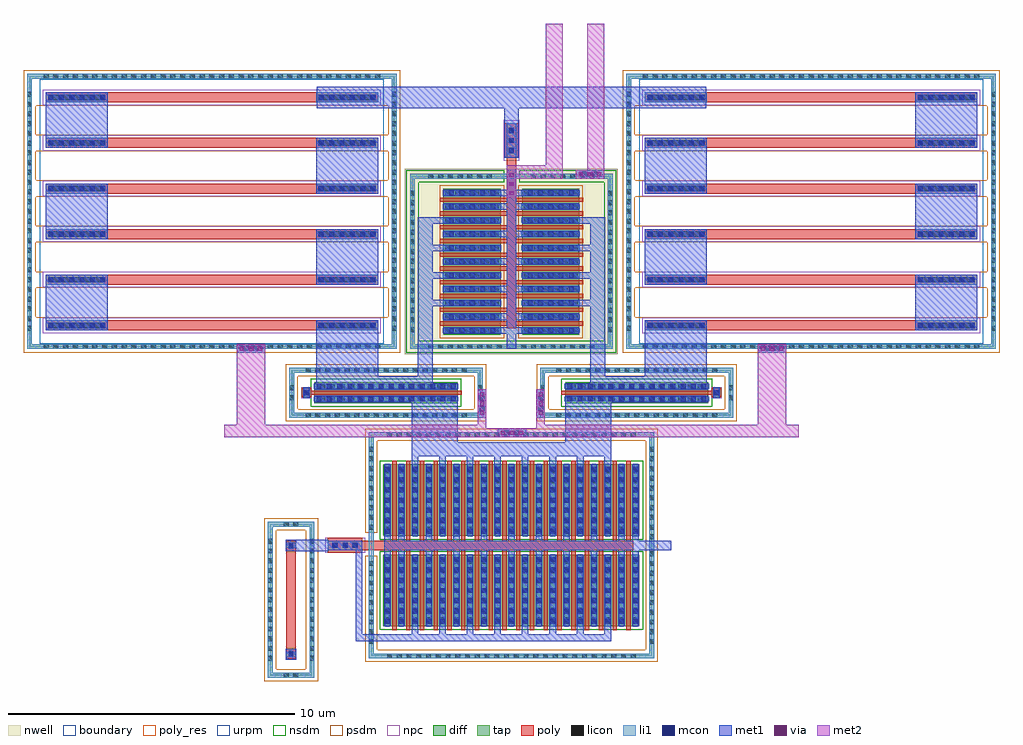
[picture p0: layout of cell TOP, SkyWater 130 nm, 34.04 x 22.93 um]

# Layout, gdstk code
import gdstk
lib = gdstk.Library(unit=1e-6, precision=1e-09)
def R(c, l, rs):  # rectangles x0, y0, x1, y1
    for r in rs: c.add(gdstk.rectangle(r[:2], r[2:], *l))
def A(c, l, x, y, w, h, nx, ny, dx, dy):  # array of equal rectangles
    R(c, l, [(x+i*dx, y+j*dy, x+i*dx+w, y+j*dy+h) for i in range(nx) for j in range(ny)])
nwell = (64, 20)
diff = (65, 20)
tap = (65, 44)
poly_res = (66, 13)
poly = (66, 20)
licon = (66, 44)
li1 = (67, 20)
mcon = (67, 44)
met1 = (68, 20)
via = (68, 44)
met2 = (69, 20)
urpm = (79, 20)
nsdm = (93, 44)
psdm = (94, 20)
npc = (95, 20)
boundary = (235, 4)

top = lib.new_cell('TOP')
R(top, nwell, [(-9.715,6.72,-5.525,13.19), (-6.475,6.72,-2.285,13.19)])
R(top, diff, [(-10.465,-2.77,-1.535,-0.27), (-10.465,0.38,-1.535,2.88), (-12.87,5.01,-7.87,5.74), (-4.13,5.01,0.87,5.74), (-8.37,7.4,-6.37,12.49), (-5.63,7.4,-3.63,12.49)])
R(top, tap, [(-14.5,-4.56,-12.87,-4.39), (-14.5,-4.39,-14.33,0.7), (-13.04,-4.39,-12.87,0.7), (-10.975,-3.89,-1.025,-3.72), (-10.975,-3.72,-10.805,-0.315), (-1.195,-3.72,-1.025,0.18), (-1.195,-0.07,-1.025,3.83), (-10.975,0.485,-10.805,3.83), (-14.5,0.7,-12.87,0.87), (-10.975,3.83,-1.025,4), (-13.74,4.5,-13.57,6.25), (-13.57,4.5,-7.17,4.67), (-7.17,4.5,-7,6.25), (-5,4.5,-4.83,6.25), (-4.83,4.5,1.57,4.67), (1.57,4.5,1.74,6.25), (-13.57,6.08,-7.17,6.25), (-4.83,6.08,1.57,6.25), (-22.89,6.9,-22.72,16.5), (-22.72,6.9,-10.17,7.07), (-10.17,6.9,-10,16.5), (-9.535,6.9,-9.365,13.01), (-9.365,6.9,-5.875,7.07), (-6.125,6.9,-2.635,7.07), (-2.635,6.9,-2.465,13.01), (-1.995,6.9,-1.825,16.5), (-1.825,6.9,10.725,7.07), (10.725,6.9,10.895,16.5), (-9.365,12.84,-6.255,13.01), (-5.735,12.84,-2.635,13.01), (-22.72,16.33,-10.17,16.5), (-1.825,16.33,10.725,16.5)])
A(top, poly_res, -20.14, 7.55, 7.39, 0.35, 1, 6, 0, 1.59)
A(top, poly_res, 0.755, 7.55, 7.39, 0.35, 1, 6, 0, 1.59)
R(top, poly_res, [(-13.85,-3.545,-13.52,-0.145)])
A(top, poly, -10.155, -2.9, 0.15, 2.74, 18, 2, 0.48, 3.17)
A(top, poly, -10.155, -0.16, 0.15, 0.05, 18, 2, 0.48, 0.38)
A(top, poly, -22.24, 7.55, 11.59, 0.35, 1, 6, 0, 1.59)
A(top, poly, -1.345, 7.55, 11.59, 0.35, 1, 6, 0, 1.59)
A(top, poly, -8.5, 7.71, 2.285, 0.15, 1, 10, 0, 0.48)
A(top, poly, -6.215, 7.71, 0.05, 0.15, 1, 10, 0, 0.48)
A(top, poly, -5.835, 7.71, 0.05, 0.15, 1, 10, 0, 0.48)
A(top, poly, -5.785, 7.71, 2.285, 0.15, 1, 10, 0, 0.48)
R(top, poly, [(-13.85,-3.91,-13.52,0.22), (-11.685,-0.11,-10.245,0.22), (-10.245,-0.11,-1.755,0.22), (-13.31,5.21,-12.98,5.54), (0.98,5.21,1.31,5.54), (-12.98,5.3,-7.76,5.45), (-7.76,5.3,-7.745,5.45), (-7.745,5.3,-7.74,5.45), (-4.26,5.3,-4.24,5.45), (-4.24,5.3,0.98,5.45), (-6.165,7.62,-5.835,12.27), (-6.165,12.27,-5.835,13.57)])
A(top, licon, -14.5, -3.97, 0.17, 0.17, 1, 13, 0, 0.34)
A(top, licon, -13.04, -3.97, 0.17, 0.17, 1, 13, 0, 0.34)
A(top, licon, -10.335, -3.89, 0.17, 0.17, 26, 2, 0.34, 7.72)
A(top, licon, -10.975, -3.385, 0.17, 0.17, 1, 9, 0, 0.34)
A(top, licon, -1.195, -3.385, 0.17, 0.17, 1, 10, 0, 0.34)
A(top, licon, -10.405, -2.625, 0.17, 0.17, 19, 7, 0.48, 0.34)
A(top, licon, -12.225, -0.03, 0.17, 0.17, 3, 1, 0.34, 0)
A(top, licon, -1.195, 0.265, 0.17, 0.17, 1, 10, 0, 0.34)
A(top, licon, -10.405, 0.525, 0.17, 0.17, 19, 7, 0.48, 0.34)
A(top, licon, -10.975, 0.605, 0.17, 0.17, 1, 9, 0, 0.34)
A(top, licon, -13.175, 4.5, 0.17, 0.17, 17, 2, 0.34, 1.58)
A(top, licon, -4.435, 4.5, 0.17, 0.17, 17, 2, 0.34, 1.58)
A(top, licon, -12.665, 5.07, 0.17, 0.17, 14, 2, 0.34, 0.44)
A(top, licon, -3.925, 5.07, 0.17, 0.17, 14, 2, 0.34, 0.44)
A(top, licon, -22.31, 6.9, 0.17, 0.17, 35, 2, 0.34, 9.43)
A(top, licon, -8.895, 6.9, 0.17, 0.17, 8, 1, 0.34, 0)
A(top, licon, -5.655, 6.9, 0.17, 0.17, 8, 1, 0.34, 0)
A(top, licon, -1.415, 6.9, 0.17, 0.17, 35, 2, 0.34, 9.43)
A(top, licon, -8.305, 7.46, 0.17, 0.17, 6, 11, 0.34, 0.48)
A(top, licon, -5.565, 7.46, 0.17, 0.17, 6, 11, 0.34, 0.48)
A(top, licon, -9.535, 7.49, 0.17, 0.17, 1, 15, 0, 0.34)
A(top, licon, -2.635, 7.49, 0.17, 0.17, 1, 15, 0, 0.34)
A(top, licon, -22.89, 7.535, 0.17, 0.17, 1, 25, 0, 0.34)
A(top, licon, -10.17, 7.535, 0.17, 0.17, 1, 25, 0, 0.34)
A(top, licon, -1.995, 7.535, 0.17, 0.17, 1, 25, 0, 0.34)
A(top, licon, 10.725, 7.535, 0.17, 0.17, 1, 25, 0, 0.34)
A(top, licon, -22.16, 7.63, 2, 0.19, 1, 6, 0, 1.59)
A(top, licon, -12.73, 7.63, 2, 0.19, 1, 6, 0, 1.59)
A(top, licon, -1.265, 7.63, 2, 0.19, 1, 6, 0, 1.59)
A(top, licon, 8.165, 7.63, 2, 0.19, 1, 6, 0, 1.59)
A(top, licon, -8.895, 12.84, 0.17, 0.17, 7, 1, 0.34, 0)
A(top, licon, -5.315, 12.84, 0.17, 0.17, 7, 1, 0.34, 0)
A(top, licon, -6.085, 13.745, 0.17, 0.17, 1, 3, 0, 0.34)
R(top, licon, [(-13.94,-4.56,-13.77,-4.39), (-13.6,-4.56,-13.43,-4.39), (-13.77,-3.83,-13.6,-3.66), (-13.77,-0.03,-13.6,0.14), (-13.94,0.7,-13.77,0.87), (-13.6,0.7,-13.43,0.87), (-13.74,5.12,-13.57,5.29), (-7.17,5.12,-7,5.29), (-5,5.12,-4.83,5.29), (1.57,5.12,1.74,5.29), (-13.23,5.29,-13.06,5.46), (1.06,5.29,1.23,5.46), (-13.74,5.46,-13.57,5.63), (-7.17,5.46,-7,5.63), (-5,5.46,-4.83,5.63), (1.57,5.46,1.74,5.63)])
A(top, li1, -10.405, -2.79, 0.17, 2.54, 19, 2, 0.48, 3.15)
A(top, li1, -8.39, 7.46, 2.04, 0.17, 1, 11, 0, 0.48)
A(top, li1, -5.65, 7.46, 2.04, 0.17, 1, 11, 0, 0.48)
A(top, li1, -22.24, 7.55, 2.16, 0.35, 1, 6, 0, 1.59)
A(top, li1, -12.81, 7.55, 2.16, 0.35, 1, 6, 0, 1.59)
A(top, li1, -1.345, 7.55, 2.16, 0.35, 1, 6, 0, 1.59)
A(top, li1, 8.085, 7.55, 2.16, 0.35, 1, 6, 0, 1.59)
R(top, li1, [(-14.5,-4.56,-12.87,-4.39), (-14.5,-4.39,-14.33,0.7), (-13.04,-4.39,-12.87,0.7), (-10.975,-3.89,-1.025,-3.72), (-13.85,-3.83,-13.52,-3.66), (-10.975,-3.72,-10.805,3.83), (-1.195,-3.72,-1.025,0.18), (-13.77,-3.66,-13.6,-3.63), (-1.195,-0.07,-1.025,3.83), (-13.77,-0.06,-13.6,-0.03), (-13.85,-0.03,-13.52,0.14), (-14.5,0.7,-12.87,0.87), (-10.975,3.83,-1.025,4), (-13.74,4.5,-13.57,6.25), (-13.57,4.5,-7.17,4.67), (-7.17,4.5,-7,6.25), (-5,4.5,-4.83,6.25), (-4.83,4.5,1.57,4.67), (1.57,4.5,1.74,6.25), (-12.89,5.07,-7.85,5.24), (-4.15,5.07,0.89,5.24), (-13.23,5.21,-13.06,5.54), (1.06,5.21,1.23,5.54), (-12.89,5.51,-7.85,5.68), (-4.15,5.51,0.89,5.68), (-13.57,6.08,-7.17,6.25), (-4.83,6.08,1.57,6.25), (-22.89,6.9,-22.72,16.5), (-22.72,6.9,-10.17,7.07), (-10.17,6.9,-10,16.5), (-9.535,6.9,-9.365,13.01), (-9.365,6.9,-5.875,7.07), (-6.125,6.9,-2.635,7.07), (-2.635,6.9,-2.465,13.01), (-1.995,6.9,-1.825,16.5), (-1.825,6.9,10.725,7.07), (10.725,6.9,10.895,16.5), (-9.365,12.84,-2.635,13.01), (-22.72,16.33,-10.17,16.5), (-1.825,16.33,10.725,16.5)])
A(top, mcon, -10.405, -2.685, 0.17, 0.17, 19, 7, 0.48, 0.36)
A(top, mcon, -12.245, -0.03, 0.17, 0.17, 3, 1, 0.36, 0)
A(top, mcon, -10.405, 0.465, 0.17, 0.17, 19, 7, 0.48, 0.36)
A(top, mcon, -12.795, 5.07, 0.17, 0.17, 14, 2, 0.36, 0.44)
A(top, mcon, -4.055, 5.07, 0.17, 0.17, 14, 2, 0.36, 0.44)
A(top, mcon, -8.175, 7.46, 0.17, 0.17, 5, 11, 0.36, 0.48)
A(top, mcon, -5.435, 7.46, 0.17, 0.17, 5, 11, 0.36, 0.48)
A(top, mcon, -22.14, 7.64, 0.17, 0.17, 6, 6, 0.36, 1.59)
A(top, mcon, -12.715, 7.64, 0.17, 0.17, 6, 6, 0.36, 1.59)
A(top, mcon, -1.25, 7.64, 0.17, 0.17, 6, 6, 0.36, 1.59)
A(top, mcon, 8.175, 7.64, 0.17, 0.17, 6, 6, 0.36, 1.59)
A(top, mcon, -6.085, 13.725, 0.17, 0.17, 1, 3, 0, 0.36)
R(top, mcon, [(-13.77,-3.815,-13.6,-3.645), (-13.77,-0.045,-13.6,0.125), (-6.25,3.895,-6.08,4.065), (-5.89,3.895,-5.72,4.065), (-7.105,4.735,-6.935,4.905), (-5.065,4.735,-4.895,4.905), (-7.105,5.095,-6.935,5.265), (-5.065,5.095,-4.895,5.265), (-13.23,5.29,-13.06,5.46), (1.06,5.29,1.23,5.46), (-15.35,6.835,-15.18,7.005), (-14.99,6.835,-14.82,7.005), (2.825,6.835,2.995,7.005), (3.185,6.835,3.355,7.005), (-3.525,12.905,-3.355,13.075), (-3.165,12.905,-2.995,13.075)])
A(top, met1, -10.435, -2.77, 0.23, 2.5, 19, 2, 0.48, 3.15)
A(top, met1, -9.955, -0.27, 0.23, 0.65, 9, 1, 0.96, 0)
A(top, met1, -8.37, 7.43, 2, 0.23, 1, 11, 0, 0.48)
A(top, met1, -5.63, 7.43, 2, 0.23, 1, 11, 0, 0.48)
A(top, met1, -22.24, 7.55, 2.16, 1.94, 1, 3, 0, 3.18)
A(top, met1, 8.085, 7.55, 2.16, 1.94, 1, 3, 0, 3.18)
A(top, met1, -22.21, 7.6, 2.105, 0.25, 1, 6, 0, 1.59)
A(top, met1, -12.785, 7.6, 2.105, 0.25, 1, 6, 0, 1.59)
A(top, met1, -1.315, 7.6, 2.105, 0.25, 1, 6, 0, 1.59)
A(top, met1, 8.11, 7.6, 2.105, 0.25, 1, 6, 0, 1.59)
A(top, met1, -6.37, 7.91, 0.74, 0.23, 1, 5, 0, 0.96)
R(top, met1, [(-13.87,-3.93,-13.8,-3.545), (-13.8,-3.93,-13.57,-3.89), (-13.57,-3.93,-13.5,-3.545), (-13.8,-3.89,-13.57,-3.57), (-13.8,-3.57,-13.57,-3.545), (-10.435,-0.27,-10.205,0.38), (-1.795,-0.27,-1.565,0.38), (-13.87,-0.145,-12.68,0.24), (-12.68,-0.145,-12.4,0.24), (-13.8,-0.12,-13.57,0.2), (-10.435,-0.11,-0.435,0.22), (-9.475,3.165,-7.87,5.27), (-4.13,3.165,-2.525,5.27), (-7.87,3.395,-4.13,3.65), (-12.87,5.04,-7.87,5.27), (-4.13,5.04,0.87,5.27), (-13.26,5.19,-13.03,5.23), (1.03,5.19,1.26,5.23), (-13.26,5.23,-13.03,5.52), (1.03,5.23,1.26,5.52), (-12.87,5.48,-7.87,5.71), (-12.81,5.48,-10.65,7.9), (-9.27,5.48,-8.97,11.5), (-4.13,5.48,0.87,5.71), (-3.03,5.48,-2.73,11.5), (-1.35,5.48,0.81,7.9), (-13.26,5.52,-13.03,5.56), (1.03,5.52,1.26,5.56), (-10.65,5.71,-9.27,5.955), (-2.73,5.71,-1.35,5.955), (-6.165,6.9,-5.835,13.15), (-6.37,7.43,-5.63,7.66), (-12.81,9.14,-10.65,11.08), (-1.345,9.14,0.815,11.08), (-6.37,12.23,-5.63,12.46), (-12.81,12.32,-10.65,14.26), (-1.345,12.32,0.815,14.26), (-6.255,13.57,-5.745,15.3), (-10.37,15.3,-1.625,16.05)])
A(top, via, -6.38, 3.905, 0.15, 0.15, 3, 1, 0.32, 0)
A(top, via, -7.095, 4.605, 0.15, 0.15, 1, 3, 0, 0.32)
A(top, via, -5.055, 4.605, 0.15, 0.15, 1, 3, 0, 0.32)
A(top, via, -15.48, 6.845, 0.15, 0.15, 3, 1, 0.32, 0)
A(top, via, 2.695, 6.845, 0.15, 0.15, 3, 1, 0.32, 0)
A(top, via, -6.075, 12.255, 0.15, 0.15, 1, 3, 0, 0.32)
A(top, via, -3.655, 12.915, 0.15, 0.15, 3, 1, 0.32, 0)
R(top, met2, [(-16.02,3.83,-6.87,4.25), (-7.17,3.83,-6.87,4.5), (-7.17,3.83,-6.485,4.13), (-5.485,3.83,-4.83,4.13), (-5.13,3.83,-4.83,4.5), (-5.13,3.83,4.02,4.25), (-15.585,4.25,-14.585,6.77), (2.59,4.25,3.59,6.77), (-6.165,12.84,-4.205,13.3), (-4.805,12.84,-4.205,18.24), (-3.36,12.84,-2.76,18.24)])
R(top, urpm, [(-22.44,7.09,-10.45,16.31), (-1.545,7.09,10.445,16.31)])
R(top, nsdm, [(-10.59,-2.895,-1.41,-0.145), (-10.59,0.255,-1.41,3.005), (-12.995,4.885,-7.745,5.865), (-4.255,4.885,0.995,5.865), (-9.66,6.775,-9.24,13.135), (-9.24,6.775,-6,7.195), (-6,6.775,-2.76,7.195), (-2.76,6.775,-2.34,13.135), (-9.24,12.715,-6.255,13.135), (-5.735,12.715,-2.76,13.135)])
A(top, psdm, -22.595, 9.03, 12.3, 0.57, 1, 4, 0, 1.59)
A(top, psdm, -1.7, 9.03, 12.3, 0.57, 1, 4, 0, 1.59)
R(top, psdm, [(-14.625,-4.685,-12.745,-4.265), (-14.625,-4.265,-14.205,0.575), (-13.165,-4.265,-12.745,0.575), (-11.1,-4.015,-0.9,-3.595), (-11.1,-3.595,-10.68,-0.315), (-1.32,-3.595,-0.9,0.055), (-1.32,0.055,-0.9,3.705), (-11.1,0.485,-10.68,3.705), (-14.625,0.575,-12.745,0.995), (-11.1,3.705,-0.9,4.125), (-13.865,4.375,-13.445,6.375), (-13.445,4.375,-7.295,4.795), (-7.295,4.375,-6.875,6.375), (-5.125,4.375,-4.705,6.375), (-4.705,4.375,1.445,4.795), (1.445,4.375,1.865,6.375), (-13.445,5.955,-7.295,6.375), (-4.705,5.955,1.445,6.375), (-23.015,6.775,-22.595,16.625), (-22.595,6.775,-10.295,8.01), (-10.295,6.775,-9.875,16.625), (-2.12,6.775,-1.7,16.625), (-1.7,6.775,10.6,8.01), (10.6,6.775,11.02,16.625), (-8.495,7.275,-6.245,12.615), (-5.755,7.275,-3.505,12.615), (-22.595,15.39,-10.295,16.625), (-1.7,15.39,10.6,16.625)])
A(top, npc, -22.335, 7.455, 11.78, 0.54, 1, 6, 0, 1.59)
A(top, npc, -1.44, 7.455, 11.78, 0.54, 1, 6, 0, 1.59)
R(top, npc, [(-13.87,-3.93,-13.5,-3.56), (-13.87,-0.13,-13.5,0.24), (-13.33,5.19,-12.96,5.56), (0.96,5.19,1.33,5.56)])
R(top, boundary, [(-14.415,-4.475,-12.955,0.785), (-10.89,-3.805,-1.11,0.265), (-10.89,-0.155,-1.11,3.915), (-13.655,4.585,-7.085,6.165), (-4.915,4.585,1.655,6.165), (-22.805,6.985,-10.085,16.415), (-9.45,6.985,-5.79,12.925), (-6.21,6.985,-2.55,12.925), (-1.91,6.985,10.81,16.415)])
top.add(gdstk.FlexPath([(-6,13.57),(-6,14.77)], 0.33, ends="flush", simple_path=True, layer=67, datatype=20))  # li1
top.add(gdstk.FlexPath([(-11.2,0.055),(-12.4,0.055)], 0.33, ends="flush", simple_path=True, layer=67, datatype=20))  # li1
top.add(gdstk.FlexPath([(-5.485,3.98),(-6.485,3.98)], 0.3, ends="flush", simple_path=True, layer=67, datatype=20))  # li1
top.add(gdstk.FlexPath([(-7.02,4.5),(-7.02,5.5)], 0.3, ends="flush", simple_path=True, layer=67, datatype=20))  # li1
top.add(gdstk.FlexPath([(-4.98,4.5),(-4.98,5.5)], 0.3, ends="flush", simple_path=True, layer=67, datatype=20))  # li1
top.add(gdstk.FlexPath([(-2.76,12.99),(-3.76,12.99)], 0.3, ends="flush", simple_path=True, layer=67, datatype=20))  # li1
top.add(gdstk.FlexPath([(-14.585,6.92),(-15.585,6.92)], 0.3, ends="flush", simple_path=True, layer=67, datatype=20))  # li1
top.add(gdstk.FlexPath([(3.59,6.92),(2.59,6.92)], 0.3, ends="flush", simple_path=True, layer=67, datatype=20))  # li1
top.add(gdstk.FlexPath([(-8.37,11.385),(-8.855,11.385),(-8.855,10.425),(-8.37,10.425),(-8.37,10.425)], 0.23, ends="extended", simple_path=True, layer=68, datatype=20))  # met1
top.add(gdstk.FlexPath([(-8.855,10.425),(-8.855,9.465),(-8.37,9.465)], 0.23, ends="extended", simple_path=True, layer=68, datatype=20))  # met1
top.add(gdstk.FlexPath([(-8.855,9.465),(-8.855,8.505),(-8.37,8.505)], 0.23, ends="extended", simple_path=True, layer=68, datatype=20))  # met1
top.add(gdstk.FlexPath([(-3.63,8.505),(-3.145,8.505),(-3.145,9.465),(-3.63,9.465),(-3.63,9.465)], 0.23, ends="extended", simple_path=True, layer=68, datatype=20))  # met1
top.add(gdstk.FlexPath([(-3.145,9.465),(-3.145,10.425),(-3.63,10.425)], 0.23, ends="extended", simple_path=True, layer=68, datatype=20))  # met1
top.add(gdstk.FlexPath([(-3.145,10.425),(-3.145,11.385),(-3.63,11.385)], 0.23, ends="extended", simple_path=True, layer=68, datatype=20))  # met1
top.add(gdstk.FlexPath([(-10.745,15.675),(-12.41,15.675)], 0.75, ends="extended", simple_path=True, layer=68, datatype=20))  # met1
top.add(gdstk.FlexPath([(-1.25,15.675),(0.415,15.675)], 0.75, ends="extended", simple_path=True, layer=68, datatype=20))  # met1
top.add(gdstk.FlexPath([(-9.36,-2.77),(-9.36,-3.17),(-8.4,-3.17),(-8.4,-2.77)], 0.23, ends="extended", simple_path=True, layer=68, datatype=20))  # met1
top.add(gdstk.FlexPath([(-8.4,-2.77),(-8.4,-3.17),(-7.44,-3.17),(-7.44,-2.77)], 0.23, ends="extended", simple_path=True, layer=68, datatype=20))  # met1
top.add(gdstk.FlexPath([(-7.44,-2.77),(-7.44,-3.17),(-6.48,-3.17),(-6.48,-2.77)], 0.23, ends="extended", simple_path=True, layer=68, datatype=20))  # met1
top.add(gdstk.FlexPath([(-6.48,-2.77),(-6.48,-3.17),(-5.52,-3.17),(-5.52,-2.77)], 0.23, ends="extended", simple_path=True, layer=68, datatype=20))  # met1
top.add(gdstk.FlexPath([(-5.52,-2.77),(-5.52,-3.17),(-4.56,-3.17),(-4.56,-2.77)], 0.23, ends="extended", simple_path=True, layer=68, datatype=20))  # met1
top.add(gdstk.FlexPath([(-4.56,-2.77),(-4.56,-3.17),(-3.6,-3.17),(-3.6,-2.77)], 0.23, ends="extended", simple_path=True, layer=68, datatype=20))  # met1
top.add(gdstk.FlexPath([(-3.6,-2.77),(-3.6,-3.17),(-2.64,-3.17),(-2.64,-2.77)], 0.23, ends="extended", simple_path=True, layer=68, datatype=20))  # met1
top.add(gdstk.FlexPath([(-2.64,2.88),(-2.64,3.28),(-3.6,3.28),(-3.6,2.88)], 0.23, ends="extended", simple_path=True, layer=68, datatype=20))  # met1
top.add(gdstk.FlexPath([(-3.6,2.88),(-3.6,3.28),(-4.56,3.28),(-4.56,2.88)], 0.23, ends="extended", simple_path=True, layer=68, datatype=20))  # met1
top.add(gdstk.FlexPath([(-4.56,2.88),(-4.56,3.28),(-5.52,3.28),(-5.52,2.88)], 0.23, ends="extended", simple_path=True, layer=68, datatype=20))  # met1
top.add(gdstk.FlexPath([(-5.52,2.88),(-5.52,3.28),(-6.48,3.28),(-6.48,2.88)], 0.23, ends="extended", simple_path=True, layer=68, datatype=20))  # met1
top.add(gdstk.FlexPath([(-6.48,2.88),(-6.48,3.28),(-7.44,3.28),(-7.44,2.88)], 0.23, ends="extended", simple_path=True, layer=68, datatype=20))  # met1
top.add(gdstk.FlexPath([(-7.44,2.88),(-7.44,3.28),(-8.4,3.28),(-8.4,2.88)], 0.23, ends="extended", simple_path=True, layer=68, datatype=20))  # met1
top.add(gdstk.FlexPath([(-8.4,2.88),(-8.4,3.28),(-9.36,3.28),(-9.36,2.88)], 0.23, ends="extended", simple_path=True, layer=68, datatype=20))  # met1
top.add(gdstk.FlexPath([(-8.855,8.505),(-8.855,5.595)], 0.23, ends="extended", simple_path=True, layer=68, datatype=20))  # met1
top.add(gdstk.FlexPath([(-3.145,8.505),(-3.145,5.595)], 0.23, ends="extended", simple_path=True, layer=68, datatype=20))  # met1
top.add(gdstk.FlexPath([(-11.315,0.055),(-11.315,-3.17),(-9.36,-3.17)], 0.23, ends="extended", simple_path=True, layer=68, datatype=20))  # met1
top.add(gdstk.FlexPath([(-6,13.57),(-6,14.77)], 0.33, ends="flush", simple_path=True, layer=68, datatype=20))  # met1
top.add(gdstk.FlexPath([(-11.2,0.055),(-12.4,0.055)], 0.33, ends="flush", simple_path=True, layer=68, datatype=20))  # met1
top.add(gdstk.FlexPath([(-5.485,3.98),(-6.485,3.98)], 0.3, ends="flush", simple_path=True, layer=68, datatype=20))  # met1
top.add(gdstk.FlexPath([(-7.02,4.5),(-7.02,5.5)], 0.3, ends="flush", simple_path=True, layer=68, datatype=20))  # met1
top.add(gdstk.FlexPath([(-4.98,4.5),(-4.98,5.5)], 0.3, ends="flush", simple_path=True, layer=68, datatype=20))  # met1
top.add(gdstk.FlexPath([(-2.76,12.99),(-3.76,12.99)], 0.3, ends="flush", simple_path=True, layer=68, datatype=20))  # met1
top.add(gdstk.FlexPath([(-14.585,6.92),(-15.585,6.92)], 0.3, ends="flush", simple_path=True, layer=68, datatype=20))  # met1
top.add(gdstk.FlexPath([(3.59,6.92),(2.59,6.92)], 0.3, ends="flush", simple_path=True, layer=68, datatype=20))  # met1
top.add(gdstk.FlexPath([(-6,13.15),(-6,12.15)], 0.33, ends="flush", simple_path=True, layer=68, datatype=20))  # met1
top.add(gdstk.FlexPath([(-5.485,3.98),(-6.485,3.98)], 0.3, ends="flush", simple_path=True, layer=69, datatype=20))  # met2
top.add(gdstk.FlexPath([(-7.02,4.5),(-7.02,5.5)], 0.3, ends="flush", simple_path=True, layer=69, datatype=20))  # met2
top.add(gdstk.FlexPath([(-4.98,4.5),(-4.98,5.5)], 0.3, ends="flush", simple_path=True, layer=69, datatype=20))  # met2
top.add(gdstk.FlexPath([(-2.76,12.99),(-3.76,12.99)], 0.3, ends="flush", simple_path=True, layer=69, datatype=20))  # met2
top.add(gdstk.FlexPath([(-14.585,6.92),(-15.585,6.92)], 0.3, ends="flush", simple_path=True, layer=69, datatype=20))  # met2
top.add(gdstk.FlexPath([(3.59,6.92),(2.59,6.92)], 0.3, ends="flush", simple_path=True, layer=69, datatype=20))  # met2
top.add(gdstk.FlexPath([(-6,13.15),(-6,12.15)], 0.33, ends="flush", simple_path=True, layer=69, datatype=20))  # met2
top.add(gdstk.FlexPath([(-6,13.57),(-6,14.77)], 0.51, ends="flush", simple_path=True, layer=66, datatype=20))  # poly
top.add(gdstk.FlexPath([(-11.2,0.055),(-12.4,0.055)], 0.51, ends="flush", simple_path=True, layer=66, datatype=20))  # poly
top.add(gdstk.FlexPath([(-6,13.47),(-6,14.87)], 0.53, ends="flush", simple_path=True, layer=95, datatype=20))  # npc
top.add(gdstk.FlexPath([(-11.1,0.055),(-12.5,0.055)], 0.53, ends="flush", simple_path=True, layer=95, datatype=20))  # npc

lib.write_gds('TOP.gds')
